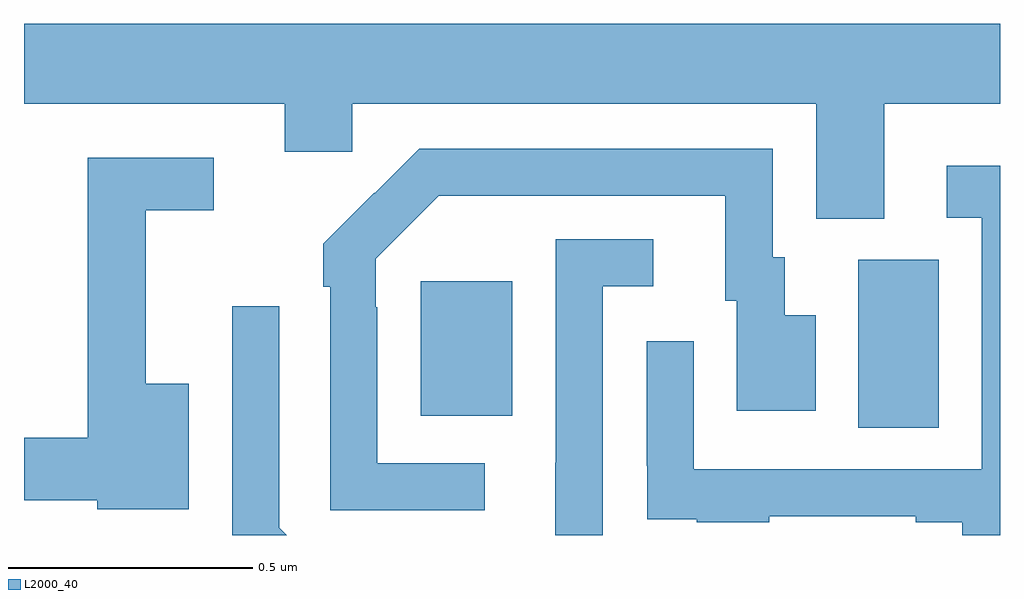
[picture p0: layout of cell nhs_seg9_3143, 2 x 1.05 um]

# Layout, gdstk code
import gdstk
lib = gdstk.Library(unit=1e-6, precision=1e-09)
def R(c, l, rs):  # rectangles x0, y0, x1, y1
    for r in rs: c.add(gdstk.rectangle(r[:2], r[2:], *l))
def P(c, l, *ps):  # polygons
    for p in ps: c.add(gdstk.Polygon(p, *l))
L2000_40 = (2000, 40)

nhs_seg9_3143 = lib.new_cell('nhs_seg9_3143')
R(nhs_seg9_3143, L2000_40, [(150.71,1231.72,150.874,1232.064), (149.813,1231.745,150.001,1232.02)])
P(nhs_seg9_3143, L2000_40, [(150.763,1232.384),(151,1232.384),(151,1232.548),(149,1232.548),(149,1232.384),(149.534,1232.384),(149.534,1232.286),(149.673,1232.286),(149.673,1232.384),(150.623,1232.384),(150.623,1232.149),(150.763,1232.149)],
  [(149.944,1231.647),(149.724,1231.647),(149.724,1231.967),(149.721,1231.967),(149.721,1232.067),(149.85,1232.196),(150.437,1232.196),(150.437,1231.98),(150.461,1231.98),(150.461,1231.755),(150.622,1231.755),(150.622,1231.951),(150.559,1231.951),(150.559,1232.07),(150.534,1232.07),(150.534,1232.292),(149.81,1232.292),(149.719,1232.201),(149.718,1232.202),(149.613,1232.097),(149.613,1232.009),(149.628,1232.009),(149.628,1231.551),(149.944,1231.551)],
  [(149.338,1231.81),(149.249,1231.81),(149.249,1232.166),(149.389,1232.166),(149.389,1232.274),(149.131,1232.274),(149.131,1231.7),(149,1231.7),(149,1231.572),(149.15,1231.572),(149.15,1231.553),(149.338,1231.553)],
  [(151,1232.257),(150.891,1232.257),(150.891,1232.151),(150.963,1232.151),(150.963,1231.635),(150.372,1231.635),(150.372,1231.897),(150.276,1231.897),(150.276,1231.642),(150.277,1231.642),(150.277,1231.533),(150.379,1231.533),(150.379,1231.527),(150.527,1231.527),(150.527,1231.539),(150.827,1231.539),(150.827,1231.527),(150.923,1231.527),(150.923,1231.5),(151,1231.5)],
  [(150.186,1232.01),(150.289,1232.01),(150.289,1232.106),(150.09,1232.106),(150.09,1231.649),(150.089,1231.649),(150.089,1231.5),(150.186,1231.5)],
  [(149.523,1231.515),(149.523,1231.969),(149.427,1231.969),(149.427,1231.5),(149.538,1231.5)])

lib.write_gds('nhs_seg9_3143.gds')
